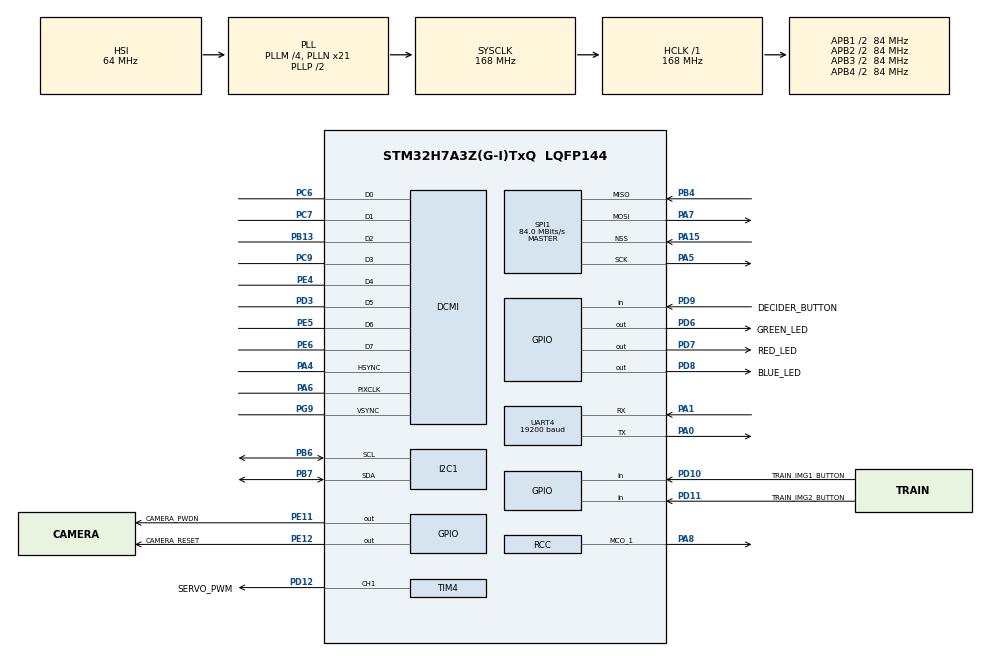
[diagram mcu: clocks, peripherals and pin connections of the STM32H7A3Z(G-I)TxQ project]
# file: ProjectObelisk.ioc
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CORTEX_M7.default_mode_Activation=1
DCMI.PCKPolarity=DCMI_PCKPOLARITY_RISING
DCMI.VSPolarity=DCMI_VSPOLARITY_HIGH
Dma.DCMI.0.Direction=DMA_PERIPH_TO_MEMORY
Dma.DCMI.0.EventEnable=DISABLE
Dma.DCMI.0.FIFOMode=DMA_FIFOMODE_DISABLE
Dma.DCMI.0.Instance=DMA1_Stream0
Dma.DCMI.0.MemDataAlignment=DMA_MDATAALIGN_WORD
Dma.DCMI.0.MemInc=DMA_MINC_ENABLE
Dma.DCMI.0.Mode=DMA_NORMAL
Dma.DCMI.0.PeriphDataAlignment=DMA_PDATAALIGN_WORD
Dma.DCMI.0.PeriphInc=DMA_PINC_DISABLE
Dma.DCMI.0.Polarity=HAL_DMAMUX_REQ_GEN_RISING
Dma.DCMI.0.Priority=DMA_PRIORITY_LOW
Dma.DCMI.0.RequestNumber=1
Dma.DCMI.0.SignalID=NONE
Dma.DCMI.0.SyncEnable=DISABLE
Dma.DCMI.0.SyncPolarity=HAL_DMAMUX_SYNC_NO_EVENT
Dma.DCMI.0.SyncRequestNumber=1
Dma.DCMI.0.SyncSignalID=NONE
Dma.Request0=DCMI
I2C1.Timing=0x10A0A4F8
Mcu.Family=STM32H7
Mcu.Name=STM32H7A3Z(G-I)TxQ
Mcu.Package=LQFP144
NVIC.DCMI_PSSI_IRQn=true\:0\:0\:false\:false\:true\:true\:true\:true
NVIC.DMA1_Stream0_IRQn=true\:0\:0\:false\:false\:true\:false\:true\:true
NVIC.PriorityGroup=NVIC_PRIORITYGROUP_4
PA0.Mode=Asynchronous
PA0.Signal=UART4_TX
PA1.Mode=Asynchronous
PA1.Signal=UART4_RX
PA13.Mode=Serial_Wire
PA13.Signal=DEBUG_JTMS-SWDIO
PA14.Mode=Serial_Wire
PA14.Signal=DEBUG_JTCK-SWCLK
PA15.Mode=NSS_Signal_Hard_Input
PA15.Signal=SPI1_NSS
PA4.GPIO_PuPd=GPIO_PULLDOWN
PA4.GPIO_Speed=GPIO_SPEED_FREQ_VERY_HIGH
PA4.Mode=Slave_8_bits_External_Synchro
PA4.Signal=DCMI_HSYNC
PA5.Mode=Full_Duplex_Master
PA5.Signal=SPI1_SCK
PA6.GPIO_PuPd=GPIO_PULLDOWN
PA6.GPIO_Speed=GPIO_SPEED_FREQ_VERY_HIGH
PA6.Mode=Slave_8_bits_External_Synchro
PA6.Signal=DCMI_PIXCLK
PA7.Mode=Full_Duplex_Master
PA7.Signal=SPI1_MOSI
PA8.GPIO_Speed=GPIO_SPEED_FREQ_VERY_HIGH
PA8.Mode=Clock-out-1
PA8.Signal=RCC_MCO_1
PB13.GPIO_PuPd=GPIO_PULLDOWN
PB13.GPIO_Speed=GPIO_SPEED_FREQ_VERY_HIGH
PB13.Mode=Slave_8_bits_External_Synchro
PB13.Signal=DCMI_D2
PB4.Mode=Full_Duplex_Master
PB4.Signal=SPI1_MISO
PB6.Mode=I2C
PB6.Signal=I2C1_SCL
PB7.Mode=I2C
PB7.Signal=I2C1_SDA
PC6.GPIO_PuPd=GPIO_PULLDOWN
PC6.GPIO_Speed=GPIO_SPEED_FREQ_VERY_HIGH
PC6.Mode=Slave_8_bits_External_Synchro
PC6.Signal=DCMI_D0
PC7.GPIO_PuPd=GPIO_PULLDOWN
PC7.GPIO_Speed=GPIO_SPEED_FREQ_VERY_HIGH
PC7.Mode=Slave_8_bits_External_Synchro
PC7.Signal=DCMI_D1
PC9.GPIO_PuPd=GPIO_PULLDOWN
PC9.GPIO_Speed=GPIO_SPEED_FREQ_VERY_HIGH
PC9.Mode=Slave_8_bits_External_Synchro
PC9.Signal=DCMI_D3
PD10.GPIO_Label=TRAIN_IMG1_BUTTON
PD10.Signal=GPIO_Input
PD11.GPIO_Label=TRAIN_IMG2_BUTTON
PD11.Signal=GPIO_Input
PD12.GPIO_Label=SERVO_PWM
PD12.Signal=S_TIM4_CH1
PD3.GPIO_PuPd=GPIO_PULLDOWN
PD3.GPIO_Speed=GPIO_SPEED_FREQ_VERY_HIGH
PD3.Mode=Slave_8_bits_External_Synchro
PD3.Signal=DCMI_D5
PD6.GPIO_Label=GREEN_LED
PD6.Signal=GPIO_Output
PD7.GPIO_Label=RED_LED
PD7.Signal=GPIO_Output
PD8.GPIO_Label=BLUE_LED
PD8.Signal=GPIO_Output
PD9.GPIO_Label=DECIDER_BUTTON
PD9.Signal=GPIO_Input
PE11.GPIO_Label=CAMERA_PWDN
PE11.Signal=GPIO_Output
PE12.GPIO_Label=CAMERA_RESET
PE12.Signal=GPIO_Output
PE4.GPIO_PuPd=GPIO_PULLDOWN
PE4.GPIO_Speed=GPIO_SPEED_FREQ_VERY_HIGH
PE4.Mode=Slave_8_bits_External_Synchro
PE4.Signal=DCMI_D4
PE5.GPIO_PuPd=GPIO_PULLDOWN
PE5.GPIO_Speed=GPIO_SPEED_FREQ_VERY_HIGH
PE5.Mode=Slave_8_bits_External_Synchro
PE5.Signal=DCMI_D6
PE6.GPIO_PuPd=GPIO_PULLDOWN
PE6.GPIO_Speed=GPIO_SPEED_FREQ_VERY_HIGH
PE6.Mode=Slave_8_bits_External_Synchro
PE6.Signal=DCMI_D7
PG9.GPIO_PuPd=GPIO_PULLDOWN
PG9.GPIO_Speed=GPIO_SPEED_FREQ_VERY_HIGH
PG9.Mode=Slave_8_bits_External_Synchro
PG9.Signal=DCMI_VSYNC
ProjectManager.HeapSize=0x200
ProjectManager.StackSize=0x400
ProjectManager.TargetToolchain=STM32CubeIDE
RCC.ADCFreq_Value=129000000
RCC.APB1Freq_Value=84000000
RCC.APB2Freq_Value=84000000
RCC.APB3Freq_Value=84000000
RCC.APB4Freq_Value=84000000
RCC.CDPPRE=RCC_APB3_DIV2
RCC.CDPPRE1=RCC_APB1_DIV2
RCC.CDPPRE2=RCC_APB2_DIV2
RCC.CortexFreq_Value=168000000
RCC.DIVM1=4
RCC.DIVN1=21
RCC.HCLKFreq_Value=168000000
RCC.PLLFRACN=0
RCC.RCC_MCO1Source=RCC_MCO1SOURCE_HSI48
RCC.RCC_MCODiv1=RCC_MCODIV_2
RCC.SRDPPRE=RCC_APB4_DIV2
RCC.SYSCLKFreq_VALUE=168000000
RCC.SYSCLKSource=RCC_SYSCLKSOURCE_PLLCLK
RCC.USBFreq_Value=168000000
SH.S_TIM4_CH1.0=TIM4_CH1,PWM Generation1 CH1
SPI1.CalculateBaudRate=84.0 MBits/s
SPI1.Direction=SPI_DIRECTION_2LINES
SPI1.Mode=SPI_MODE_MASTER
SPI1.VirtualNSS=VM_NSSHARD
SPI1.VirtualType=VM_MASTER
TIM4.Channel-PWM\ Generation1\ CH1=TIM_CHANNEL_1
TIM4.Period=20-1
TIM4.Prescaler=168-1
UART4.BaudRate=19200
VP_MEMORYMAP_VS_MEMORYMAP.Mode=CurAppReg
VP_TIM4_VS_ClockSourceINT.Mode=Internal
board=custom

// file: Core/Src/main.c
/* USER CODE BEGIN Header */
/**
  ******************************************************************************
  * @file           : main.c
  * @brief          : Main program body
  ******************************************************************************
  * @attention
  *
  * Copyright (c) 2024 STMicroelectronics.
  * All rights reserved.
  *
  * This software is licensed under terms that can be found in the LICENSE file
  * in the root directory of this software component.
  * If no LICENSE file comes with this software, it is provided AS-IS.
  *
  ******************************************************************************
  */
/* USER CODE END Header */
#include "main.h"

/* USER CODE BEGIN Includes */
#include "OV7670.h"
#include <stdint.h>

/* USER CODE END Includes */

/* USER CODE BEGIN PD */
#define TEST 1
/* USER CODE END PD */

DCMI_HandleTypeDef hdcmi;
DMA_HandleTypeDef hdma_dcmi;

I2C_HandleTypeDef hi2c1;

SPI_HandleTypeDef hspi1;

TIM_HandleTypeDef htim4;

UART_HandleTypeDef huart4;

void SystemClock_Config(void);
static void MPU_Config(void);
static void MX_GPIO_Init(void);
static void MX_DMA_Init(void);
static void MX_DCMI_Init(void);
static void MX_I2C1_Init(void);
static void MX_SPI1_Init(void);
static void MX_UART4_Init(void);
static void MX_TIM4_Init(void);

/* USER CODE BEGIN 0 */

Camera_settings OV7670_settings={
	QVGA, 		//Resolution
	RGB565, 	//Format
};

// Local Constants ----------------------------------
#define QVGA 320 * 240

// Global Variables ---------------------------------
uint16_t image_data[QVGA];
uint8_t formated_img[QVGA*3];	// Three bytes per pixel
uint16_t width, height;
uint8_t format;

static void format_image(uint8_t * p_img);
static void setServoAngle(uint32_t angle);

#if TEST
static void send_image(uint8_t *formatted_image, uint32_t image_size);
#endif

/* USER CODE END 0 */

int main(void)
{

  /* MPU Configuration--------------------------------------------------------*/
  MPU_Config();

  /* MCU Configuration--------------------------------------------------------*/

  /* Reset of all peripherals, Initializes the Flash interface and the Systick. */
  HAL_Init();

  /* Configure the system clock */
  SystemClock_Config();

  /* Initialize all configured peripherals */
  MX_GPIO_Init();
  MX_DMA_Init();
  MX_DCMI_Init();
  MX_I2C1_Init();
  MX_SPI1_Init();
  MX_UART4_Init();
  MX_TIM4_Init();
  /* USER CODE BEGIN 2 */
  OV7670_Power(DISABLE);
  OV7670_Init(&hdcmi, &hdma_dcmi, &hi2c1);

  OV7670_Power(ENABLE);
  OV7670_SetFrameControl(168,24,12,492);
  HAL_Delay(10);

  OV7670_Start(CONTINUOUS, image_data);			// Continous Mode fixed DMA transfer issue, can be used like snapshot
  OV7670_getImageInfo(&width,&height,&format);
  HAL_Delay(100);
  HAL_TIM_PWM_Start(&htim4, TIM_CHANNEL_1);

  // #TODO: Set GPIOS for LED start state
  // #TODO: Convert ProjectObelisk_RaspPI_Arduino/CameraAI.py into C code

  /* USER CODE END 2 */

  /* Infinite loop */
  /* USER CODE BEGIN WHILE */
  while (1)
  {
	  // #TODO: Implement Control loop - Reference ProjectObelisk_RaspPI_Arduino/control_loop.py for intended behavior]
	  setServoAngle(0);
	  while(!frame_ready)
	  {}
	  format_image(formated_img);
#if TEST
	  send_image(formated_img, QVGA*3);
#endif
	  // #TODO: Implement decider result - Reference ProjectObelisk_RaspPI_Arduino/control_loop.py for intended behavior
	  setServoAngle(180);
    /* USER CODE END WHILE */

  }
}

void SystemClock_Config(void)
{
  RCC_OscInitTypeDef RCC_OscInitStruct = {0};
  RCC_ClkInitTypeDef RCC_ClkInitStruct = {0};

  /*AXI clock gating */
  RCC->CKGAENR = 0xFFFFFFFF;

  /** Supply configuration update enable
  */
  HAL_PWREx_ConfigSupply(PWR_DIRECT_SMPS_SUPPLY);

  /** Configure the main internal regulator output voltage
  */
  __HAL_PWR_VOLTAGESCALING_CONFIG(PWR_REGULATOR_VOLTAGE_SCALE1);

  while(!__HAL_PWR_GET_FLAG(PWR_FLAG_VOSRDY)) {}

  /** Initializes the RCC Oscillators according to the specified parameters
  * in the RCC_OscInitTypeDef structure.
  */
  RCC_OscInitStruct.OscillatorType = RCC_OSCILLATORTYPE_HSI48|RCC_OSCILLATORTYPE_HSI;
  RCC_OscInitStruct.HSIState = RCC_HSI_DIV1;
  RCC_OscInitStruct.HSICalibrationValue = 64;
  RCC_OscInitStruct.HSI48State = RCC_HSI48_ON;
  RCC_OscInitStruct.PLL.PLLState = RCC_PLL_ON;
  RCC_OscInitStruct.PLL.PLLSource = RCC_PLLSOURCE_HSI;
  RCC_OscInitStruct.PLL.PLLM = 4;
  RCC_OscInitStruct.PLL.PLLN = 21;
  RCC_OscInitStruct.PLL.PLLP = 2;
  RCC_OscInitStruct.PLL.PLLQ = 2;
  RCC_OscInitStruct.PLL.PLLR = 2;
  RCC_OscInitStruct.PLL.PLLRGE = RCC_PLL1VCIRANGE_3;
  RCC_OscInitStruct.PLL.PLLVCOSEL = RCC_PLL1VCOWIDE;
  RCC_OscInitStruct.PLL.PLLFRACN = 0;
  if (HAL_RCC_OscConfig(&RCC_OscInitStruct) != HAL_OK)
  {
    Error_Handler();
  }

  /** Initializes the CPU, AHB and APB buses clocks
  */
  RCC_ClkInitStruct.ClockType = RCC_CLOCKTYPE_HCLK|RCC_CLOCKTYPE_SYSCLK
                              |RCC_CLOCKTYPE_PCLK1|RCC_CLOCKTYPE_PCLK2
                              |RCC_CLOCKTYPE_D3PCLK1|RCC_CLOCKTYPE_D1PCLK1;
  RCC_ClkInitStruct.SYSCLKSource = RCC_SYSCLKSOURCE_PLLCLK;
  RCC_ClkInitStruct.SYSCLKDivider = RCC_SYSCLK_DIV1;
  RCC_ClkInitStruct.AHBCLKDivider = RCC_HCLK_DIV1;
  RCC_ClkInitStruct.APB3CLKDivider = RCC_APB3_DIV2;
  RCC_ClkInitStruct.APB1CLKDivider = RCC_APB1_DIV2;
  RCC_ClkInitStruct.APB2CLKDivider = RCC_APB2_DIV2;
  RCC_ClkInitStruct.APB4CLKDivider = RCC_APB4_DIV2;

  if (HAL_RCC_ClockConfig(&RCC_ClkInitStruct, FLASH_LATENCY_4) != HAL_OK)
  {
    Error_Handler();
  }
  HAL_RCC_MCOConfig(RCC_MCO1, RCC_MCO1SOURCE_HSI48, RCC_MCODIV_2);
}

static void MX_DCMI_Init(void)
{

  hdcmi.Instance = DCMI;
  hdcmi.Init.SynchroMode = DCMI_SYNCHRO_HARDWARE;
  hdcmi.Init.PCKPolarity = DCMI_PCKPOLARITY_RISING;
  hdcmi.Init.VSPolarity = DCMI_VSPOLARITY_HIGH;
  hdcmi.Init.HSPolarity = DCMI_HSPOLARITY_LOW;
  hdcmi.Init.CaptureRate = DCMI_CR_ALL_FRAME;
  hdcmi.Init.ExtendedDataMode = DCMI_EXTEND_DATA_8B;
  hdcmi.Init.JPEGMode = DCMI_JPEG_DISABLE;
  hdcmi.Init.ByteSelectMode = DCMI_BSM_ALL;
  hdcmi.Init.ByteSelectStart = DCMI_OEBS_ODD;
  hdcmi.Init.LineSelectMode = DCMI_LSM_ALL;
  hdcmi.Init.LineSelectStart = DCMI_OELS_ODD;
  if (HAL_DCMI_Init(&hdcmi) != HAL_OK)
  {
    Error_Handler();
  }

}

static void MX_I2C1_Init(void)
{

  hi2c1.Instance = I2C1;
  hi2c1.Init.Timing = 0x10A0A4F8;
  hi2c1.Init.OwnAddress1 = 0;
  hi2c1.Init.AddressingMode = I2C_ADDRESSINGMODE_7BIT;
  hi2c1.Init.DualAddressMode = I2C_DUALADDRESS_DISABLE;
  hi2c1.Init.OwnAddress2 = 0;
  hi2c1.Init.OwnAddress2Masks = I2C_OA2_NOMASK;
  hi2c1.Init.GeneralCallMode = I2C_GENERALCALL_DISABLE;
  hi2c1.Init.NoStretchMode = I2C_NOSTRETCH_DISABLE;
  if (HAL_I2C_Init(&hi2c1) != HAL_OK)
  {
    Error_Handler();
  }

  /** Configure Analogue filter
  */
  if (HAL_I2CEx_ConfigAnalogFilter(&hi2c1, I2C_ANALOGFILTER_ENABLE) != HAL_OK)
  {
    Error_Handler();
  }

  /** Configure Digital filter
  */
  if (HAL_I2CEx_ConfigDigitalFilter(&hi2c1, 0) != HAL_OK)
  {
    Error_Handler();
  }

}

static void MX_SPI1_Init(void)
{

  /* SPI1 parameter configuration*/
  hspi1.Instance = SPI1;
  hspi1.Init.Mode = SPI_MODE_MASTER;
  hspi1.Init.Direction = SPI_DIRECTION_2LINES;
  hspi1.Init.DataSize = SPI_DATASIZE_4BIT;
  hspi1.Init.CLKPolarity = SPI_POLARITY_LOW;
  hspi1.Init.CLKPhase = SPI_PHASE_1EDGE;
  hspi1.Init.NSS = SPI_NSS_HARD_INPUT;
  hspi1.Init.BaudRatePrescaler = SPI_BAUDRATEPRESCALER_2;
  hspi1.Init.FirstBit = SPI_FIRSTBIT_MSB;
  hspi1.Init.TIMode = SPI_TIMODE_DISABLE;
  hspi1.Init.CRCCalculation = SPI_CRCCALCULATION_DISABLE;
  hspi1.Init.CRCPolynomial = 0x0;
  hspi1.Init.NSSPMode = SPI_NSS_PULSE_ENABLE;
  hspi1.Init.NSSPolarity = SPI_NSS_POLARITY_LOW;
  hspi1.Init.FifoThreshold = SPI_FIFO_THRESHOLD_01DATA;
  hspi1.Init.TxCRCInitializationPattern = SPI_CRC_INITIALIZATION_ALL_ZERO_PATTERN;
  hspi1.Init.RxCRCInitializationPattern = SPI_CRC_INITIALIZATION_ALL_ZERO_PATTERN;
  hspi1.Init.MasterSSIdleness = SPI_MASTER_SS_IDLENESS_00CYCLE;
  hspi1.Init.MasterInterDataIdleness = SPI_MASTER_INTERDATA_IDLENESS_00CYCLE;
  hspi1.Init.MasterReceiverAutoSusp = SPI_MASTER_RX_AUTOSUSP_DISABLE;
  hspi1.Init.MasterKeepIOState = SPI_MASTER_KEEP_IO_STATE_DISABLE;
  hspi1.Init.IOSwap = SPI_IO_SWAP_DISABLE;
  if (HAL_SPI_Init(&hspi1) != HAL_OK)
  {
    Error_Handler();
  }

}

static void MX_TIM4_Init(void)
{

  TIM_ClockConfigTypeDef sClockSourceConfig = {0};
  TIM_MasterConfigTypeDef sMasterConfig = {0};
  TIM_OC_InitTypeDef sConfigOC = {0};

  htim4.Instance = TIM4;
  htim4.Init.Prescaler = 168-1;
  htim4.Init.CounterMode = TIM_COUNTERMODE_UP;
  htim4.Init.Period = 20-1;
  htim4.Init.ClockDivision = TIM_CLOCKDIVISION_DIV1;
  htim4.Init.AutoReloadPreload = TIM_AUTORELOAD_PRELOAD_DISABLE;
  if (HAL_TIM_Base_Init(&htim4) != HAL_OK)
  {
    Error_Handler();
  }
  sClockSourceConfig.ClockSource = TIM_CLOCKSOURCE_INTERNAL;
  if (HAL_TIM_ConfigClockSource(&htim4, &sClockSourceConfig) != HAL_OK)
  {
    Error_Handler();
  }
  if (HAL_TIM_PWM_Init(&htim4) != HAL_OK)
  {
    Error_Handler();
  }
  sMasterConfig.MasterOutputTrigger = TIM_TRGO_RESET;
  sMasterConfig.MasterSlaveMode = TIM_MASTERSLAVEMODE_DISABLE;
  if (HAL_TIMEx_MasterConfigSynchronization(&htim4, &sMasterConfig) != HAL_OK)
  {
    Error_Handler();
  }
  sConfigOC.OCMode = TIM_OCMODE_PWM1;
  sConfigOC.Pulse = 0;
  sConfigOC.OCPolarity = TIM_OCPOLARITY_HIGH;
  sConfigOC.OCFastMode = TIM_OCFAST_DISABLE;
  if (HAL_TIM_PWM_ConfigChannel(&htim4, &sConfigOC, TIM_CHANNEL_1) != HAL_OK)
  {
    Error_Handler();
  }
  HAL_TIM_MspPostInit(&htim4);

}

static void MX_UART4_Init(void)
{

  huart4.Instance = UART4;
  huart4.Init.BaudRate = 19200;
  huart4.Init.WordLength = UART_WORDLENGTH_8B;
  huart4.Init.StopBits = UART_STOPBITS_1;
  huart4.Init.Parity = UART_PARITY_NONE;
  huart4.Init.Mode = UART_MODE_TX_RX;
  huart4.Init.HwFlowCtl = UART_HWCONTROL_NONE;
  huart4.Init.OverSampling = UART_OVERSAMPLING_16;
  huart4.Init.OneBitSampling = UART_ONE_BIT_SAMPLE_DISABLE;
  huart4.Init.ClockPrescaler = UART_PRESCALER_DIV1;
  huart4.AdvancedInit.AdvFeatureInit = UART_ADVFEATURE_NO_INIT;
  if (HAL_UART_Init(&huart4) != HAL_OK)
  {
    Error_Handler();
  }
  if (HAL_UARTEx_SetTxFifoThreshold(&huart4, UART_TXFIFO_THRESHOLD_1_8) != HAL_OK)
  {
    Error_Handler();
  }
  if (HAL_UARTEx_SetRxFifoThreshold(&huart4, UART_RXFIFO_THRESHOLD_1_8) != HAL_OK)
  {
    Error_Handler();
  }
  if (HAL_UARTEx_DisableFifoMode(&huart4) != HAL_OK)
  {
    Error_Handler();
  }

}

static void MX_DMA_Init(void)
{

  /* DMA controller clock enable */
  __HAL_RCC_DMA1_CLK_ENABLE();

  /* DMA interrupt init */
  /* DMA1_Stream0_IRQn interrupt configuration */
  HAL_NVIC_SetPriority(DMA1_Stream0_IRQn, 0, 0);
  HAL_NVIC_EnableIRQ(DMA1_Stream0_IRQn);

}

static void MX_GPIO_Init(void)
{
  GPIO_InitTypeDef GPIO_InitStruct = {0};

  /* GPIO Ports Clock Enable */
  __HAL_RCC_GPIOE_CLK_ENABLE();
  __HAL_RCC_GPIOA_CLK_ENABLE();
  __HAL_RCC_GPIOB_CLK_ENABLE();
  __HAL_RCC_GPIOD_CLK_ENABLE();
  __HAL_RCC_GPIOC_CLK_ENABLE();
  __HAL_RCC_GPIOG_CLK_ENABLE();

  /*Configure GPIO pin Output Level */
  HAL_GPIO_WritePin(GPIOE, CAMERA_PWDN_Pin|CAMERA_RESET_Pin, GPIO_PIN_RESET);

  /*Configure GPIO pin Output Level */
  HAL_GPIO_WritePin(GPIOD, BLUE_LED_Pin|GREEN_LED_Pin|RED_LED_Pin, GPIO_PIN_RESET);

  /*Configure GPIO pins : CAMERA_PWDN_Pin CAMERA_RESET_Pin */
  GPIO_InitStruct.Pin = CAMERA_PWDN_Pin|CAMERA_RESET_Pin;
  GPIO_InitStruct.Mode = GPIO_MODE_OUTPUT_PP;
  GPIO_InitStruct.Pull = GPIO_NOPULL;
  GPIO_InitStruct.Speed = GPIO_SPEED_FREQ_LOW;
  HAL_GPIO_Init(GPIOE, &GPIO_InitStruct);

  /*Configure GPIO pins : BLUE_LED_Pin GREEN_LED_Pin RED_LED_Pin */
  GPIO_InitStruct.Pin = BLUE_LED_Pin|GREEN_LED_Pin|RED_LED_Pin;
  GPIO_InitStruct.Mode = GPIO_MODE_OUTPUT_PP;
  GPIO_InitStruct.Pull = GPIO_NOPULL;
  GPIO_InitStruct.Speed = GPIO_SPEED_FREQ_LOW;
  HAL_GPIO_Init(GPIOD, &GPIO_InitStruct);

  /*Configure GPIO pins : DECIDER_BUTTON_Pin TRAIN_IMG1_BUTTON_Pin TRAIN_IMG2_BUTTON_Pin */
  GPIO_InitStruct.Pin = DECIDER_BUTTON_Pin|TRAIN_IMG1_BUTTON_Pin|TRAIN_IMG2_BUTTON_Pin;
  GPIO_InitStruct.Mode = GPIO_MODE_INPUT;
  GPIO_InitStruct.Pull = GPIO_NOPULL;
  HAL_GPIO_Init(GPIOD, &GPIO_InitStruct);

  /*Configure GPIO pin : PA8 */
  GPIO_InitStruct.Pin = GPIO_PIN_8;
  GPIO_InitStruct.Mode = GPIO_MODE_AF_PP;
  GPIO_InitStruct.Pull = GPIO_NOPULL;
  GPIO_InitStruct.Speed = GPIO_SPEED_FREQ_VERY_HIGH;
  GPIO_InitStruct.Alternate = GPIO_AF0_MCO;
  HAL_GPIO_Init(GPIOA, &GPIO_InitStruct);

}

/* USER CODE BEGIN 4 */

// Function to format the image data for RGB565 format and populate the output buffer
void format_image(uint8_t * p_img) {
    uint32_t word = 0;         // Temporary variable to store a 32-bit word from image data
    uint32_t length = 0;       // Counter to track the position in the output buffer

    // Loop through each pixel pair (two pixels per 32-bit word)
    for (uint16_t i = 0; i < width / 2; i++) {
        for (uint16_t j = 0; j < height; j++) {
            word = image_data[j + i * (width / 2)]; // Access the image data for the current pixel pair

            if (format == RGB565) { // Check if the format is RGB565
                // Extract the red component (5 bits from the upper 16 bits)
                uint8_t R = (uint8_t)(((word >> 16) & 0xF800) >> 11);
                // Extract the green component (6 bits from the upper 16 bits)
                uint8_t G = (uint8_t)(((word >> 16) & 0x07E0) >> 5);
                // Extract the blue component (5 bits from the upper 16 bits)
                uint8_t B = (uint8_t)((word >> 16) & 0x001F);

                // Store the RGB components in the output buffer sequentially
                p_img[length++] = R;
                p_img[length++] = G;
                p_img[length++] = B;
            }
        }
    }
}

// Function to set the servo angle based on a specified value (0-180 degrees)
void setServoAngle(uint32_t angle) {
    if (angle > 180) angle = 180; // Limit the angle to the maximum value of 180 degrees

    int32_t minPulseWidth = 1000; // Minimum pulse width (1ms) for 0 degrees
    int32_t maxPulseWidth = 2000; // Maximum pulse width (2ms) for 180 degrees

    // Calculate the pulse width corresponding to the specified angle
    uint32_t pulse = (uint32_t)((angle * (maxPulseWidth - minPulseWidth)) / 180) + minPulseWidth;

    // Set the pulse width for the timer's PWM channel to control the servo
    TIM2->CCR2 = pulse;
}

#if TEST
#define CHUNK_SIZE 240  // Maximum size of each data chunk to be sent (must be a multiple of 3 for RGB format)

// Function to send a formatted image over UART in chunks. Note uint16_t is max size, and our image is bigger
void send_image(uint8_t *formatted_image, uint32_t image_size) {
    uint32_t bytes_sent = 0;    // Counter to track the number of bytes sent

    // Continue until all bytes in the image are sent
    while (bytes_sent < image_size) {
        uint32_t bytes_to_send = image_size - bytes_sent;

        // Ensure the size of the current chunk does not exceed the defined maximum chunk size
        if (bytes_to_send > CHUNK_SIZE) {
            bytes_to_send = CHUNK_SIZE;
        }

        // Transmit the current chunk over UART
        HAL_StatusTypeDef status = HAL_UART_Transmit(&huart4, &formatted_image[bytes_sent], bytes_to_send, HAL_MAX_DELAY);

        // Handle any transmission errors
        if (status != HAL_OK) {
            // Log or handle transmission error
            return;
        }

        // Update the byte counter after successfully transmitting the chunk
        bytes_sent += bytes_to_send;
    }
}
#endif

/* USER CODE END 4 */

 /* MPU Configuration */

void MPU_Config(void)
{
  MPU_Region_InitTypeDef MPU_InitStruct = {0};

  /* Disables the MPU */
  HAL_MPU_Disable();

  /** Initializes and configures the Region and the memory to be protected
  */
  MPU_InitStruct.Enable = MPU_REGION_ENABLE;
  MPU_InitStruct.Number = MPU_REGION_NUMBER0;
  MPU_InitStruct.BaseAddress = 0x0;
  MPU_InitStruct.Size = MPU_REGION_SIZE_4GB;
  MPU_InitStruct.SubRegionDisable = 0x87;
  MPU_InitStruct.TypeExtField = MPU_TEX_LEVEL0;
  MPU_InitStruct.AccessPermission = MPU_REGION_NO_ACCESS;
  MPU_InitStruct.DisableExec = MPU_INSTRUCTION_ACCESS_DISABLE;
  MPU_InitStruct.IsShareable = MPU_ACCESS_SHAREABLE;
  MPU_InitStruct.IsCacheable = MPU_ACCESS_NOT_CACHEABLE;
  MPU_InitStruct.IsBufferable = MPU_ACCESS_NOT_BUFFERABLE;

  HAL_MPU_ConfigRegion(&MPU_InitStruct);
  /* Enables the MPU */
  HAL_MPU_Enable(MPU_PRIVILEGED_DEFAULT);

}

void Error_Handler(void)
{
  __disable_irq();
  while (1)
  {
  }
}
